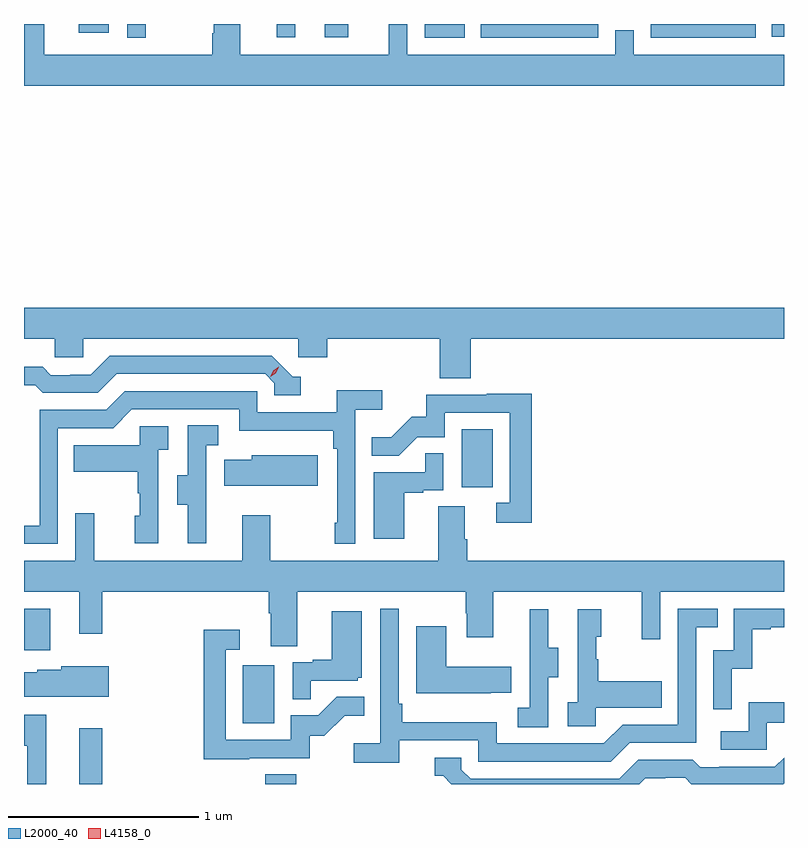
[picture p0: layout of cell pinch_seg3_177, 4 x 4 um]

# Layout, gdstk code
import gdstk
lib = gdstk.Library(unit=1e-6, precision=1e-09)
def R(c, l, rs):  # rectangles x0, y0, x1, y1
    for r in rs: c.add(gdstk.rectangle(r[:2], r[2:], *l))
def P(c, l, *ps):  # polygons
    for p in ps: c.add(gdstk.Polygon(p, *l))
L2000_40 = (2000, 40)
L4158_0 = (4158, 0)

pinch_seg3_177 = lib.new_cell('pinch_seg3_177')
R(pinch_seg3_177, L2000_40, [(996.071,743.861,996.193,744.154), (997.049,743.861,997.214,743.912), (996.932,744.18,997.096,744.487), (995.78,744.564,995.917,744.784), (998.084,745.422,998.248,745.729), (996.324,747.789,996.42,747.861), (997.89,747.789,998.099,747.861), (998.184,747.789,998.802,747.861), (999.078,747.789,999.63,747.861), (997.109,747.792,997.207,747.861), (997.362,747.792,997.486,747.861), (999.715,747.795,999.78,747.861), (996.068,747.816,996.226,747.861)])
P(pinch_seg3_177, L2000_40, [(999.78,747.7),(998.988,747.7),(998.988,747.827),(998.892,747.827),(998.892,747.7),(997.797,747.7),(997.797,747.861),(997.7,747.861),(997.7,747.7),(996.919,747.7),(996.919,747.861),(996.779,747.861),(996.779,747.812),(996.772,747.812),(996.772,747.7),(995.887,747.7),(995.887,747.861),(995.78,747.861),(995.78,747.536),(999.78,747.536)],
  [(995.78,746.204),(995.943,746.204),(995.943,746.106),(996.093,746.106),(996.093,746.204),(997.224,746.204),(997.224,746.106),(997.376,746.106),(997.376,746.204),(997.967,746.204),(997.967,745.996),(998.132,745.996),(998.132,746.204),(999.78,746.204),(999.78,746.368),(995.78,746.368)],
  [(997.237,746.004),(997.194,746.004),(997.083,746.115),(996.23,746.115),(996.131,746.016),(996.024,746.016),(996.024,746.013),(995.921,746.013),(995.879,746.056),(995.78,746.056),(995.78,745.959),(995.84,745.959),(995.879,745.92),(996.168,745.92),(996.267,746.019),(997.05,746.019),(997.098,745.971),(997.098,745.908),(997.237,745.908)],
  [(995.958,745.734),(996.249,745.734),(996.348,745.833),(996.912,745.833),(996.912,745.721),(997.408,745.721),(997.408,745.625),(997.428,745.625),(997.428,745.237),(997.416,745.237),(997.416,745.125),(997.524,745.125),(997.524,745.832),(997.666,745.832),(997.666,745.934),(997.427,745.934),(997.427,745.818),(997.008,745.818),(997.008,745.929),(996.311,745.929),(996.212,745.83),(995.862,745.83),(995.862,745.221),(995.78,745.221),(995.78,745.125),(995.958,745.125)],
  [(998.453,745.916),(998.215,745.916),(998.215,745.911),(997.897,745.911),(997.897,745.794),(997.82,745.794),(997.713,745.687),(997.609,745.687),(997.609,745.588),(997.753,745.588),(997.851,745.686),(997.995,745.686),(997.995,745.815),(998.337,745.815),(998.337,745.341),(998.265,745.341),(998.265,745.236),(998.453,745.236)],
  [(996.74,745.341),(996.738,745.341),(996.738,745.645),(996.802,745.645),(996.802,745.748),(996.642,745.748),(996.642,745.485),(996.587,745.485),(996.587,745.33),(996.641,745.33),(996.641,745.128),(996.74,745.128)],
  [(996.486,745.619),(996.538,745.619),(996.538,745.743),(996.39,745.743),(996.39,745.645),(996.043,745.645),(996.043,745.505),(996.378,745.505),(996.378,745.391),(996.388,745.391),(996.388,745.272),(996.362,745.272),(996.362,745.128),(996.486,745.128)],
  [(997.78,745.395),(997.88,745.395),(997.88,745.407),(997.986,745.407),(997.986,745.601),(997.891,745.601),(997.891,745.503),(997.622,745.503),(997.622,745.152),(997.78,745.152)],
  [(997.327,745.591),(996.978,745.591),(996.978,745.567),(996.835,745.567),(996.835,745.43),(997.327,745.43)],
  [(997.219,744.872),(998.104,744.872),(998.104,744.761),(998.111,744.761),(998.111,744.633),(998.251,744.633),(998.251,744.872),(999.032,744.872),(999.032,744.624),(999.129,744.624),(999.129,744.872),(999.78,744.872),(999.78,745.036),(998.114,745.036),(998.114,745.148),(998.101,745.148),(998.101,745.322),(997.961,745.322),(997.961,745.036),(997.077,745.036),(997.077,745.276),(996.929,745.276),(996.929,745.036),(996.149,745.036),(996.149,745.285),(996.051,745.285),(996.051,745.036),(995.78,745.036),(995.78,744.872),(996.071,744.872),(996.071,744.651),(996.193,744.651),(996.193,744.872),(997.067,744.872),(997.067,744.76),(997.079,744.76),(997.079,744.586),(997.219,744.586)],
  [(997.754,744.09),(998.172,744.09),(998.172,743.979),(998.869,743.979),(998.968,744.078),(999.318,744.078),(999.318,744.687),(999.431,744.687),(999.431,744.783),(999.222,744.783),(999.222,744.174),(998.931,744.174),(998.832,744.075),(998.268,744.075),(998.268,744.187),(997.772,744.187),(997.772,744.283),(997.752,744.283),(997.752,744.784),(997.656,744.784),(997.656,744.076),(997.515,744.076),(997.515,743.974),(997.754,743.974)],
  [(999.504,744.467),(999.614,744.467),(999.614,744.675),(999.709,744.675),(999.709,744.687),(999.78,744.687),(999.78,744.783),(999.516,744.783),(999.516,744.564),(999.408,744.564),(999.408,744.255),(999.504,744.255)],
  [(998.538,744.424),(998.593,744.424),(998.593,744.579),(998.539,744.579),(998.539,744.781),(998.441,744.781),(998.441,744.567),(998.442,744.567),(998.442,744.263),(998.379,744.263),(998.379,744.16),(998.538,744.16)],
  [(998.79,744.263),(999.137,744.263),(999.137,744.403),(998.803,744.403),(998.803,744.518),(998.793,744.518),(998.793,744.636),(998.818,744.636),(998.818,744.781),(998.694,744.781),(998.694,744.29),(998.643,744.29),(998.643,744.165),(998.79,744.165)],
  [(997.289,744.405),(997.536,744.405),(997.536,744.42),(997.558,744.42),(997.558,744.769),(997.4,744.769),(997.4,744.514),(997.301,744.514),(997.301,744.501),(997.194,744.501),(997.194,744.307),(997.289,744.307)],
  [(998.237,744.341),(998.345,744.341),(998.345,744.478),(998.002,744.478),(998.002,744.691),(997.844,744.691),(997.844,744.338),(998.237,744.338)],
  [(996.965,743.997),(997.284,743.997),(997.284,744.114),(997.36,744.114),(997.467,744.221),(997.571,744.221),(997.571,744.32),(997.427,744.32),(997.329,744.222),(997.185,744.222),(997.185,744.093),(996.843,744.093),(996.843,744.567),(996.916,744.567),(996.916,744.673),(996.727,744.673),(996.727,743.992),(996.965,743.992)],
  [(996.226,744.481),(995.976,744.481),(995.976,744.463),(995.85,744.463),(995.85,744.449),(995.78,744.449),(995.78,744.32),(996.226,744.32)],
  [(999.69,744.183),(999.78,744.183),(999.78,744.292),(999.594,744.292),(999.594,744.138),(999.447,744.138),(999.447,744.042),(999.69,744.042)],
  [(995.896,744.226),(995.78,744.226),(995.78,744.062),(995.798,744.062),(995.798,743.861),(995.896,743.861)],
  [(999.049,743.892),(999.156,743.892),(999.156,743.895),(999.259,743.895),(999.293,743.861),(999.776,743.861),(999.78,743.865),(999.78,744),(999.732,743.952),(999.439,743.952),(999.439,743.949),(999.34,743.949),(999.301,743.988),(999.012,743.988),(998.913,743.889),(998.13,743.889),(998.082,743.937),(998.082,744),(997.943,744),(997.943,743.904),(997.986,743.904),(998.029,743.861),(999.018,743.861)])
P(pinch_seg3_177, L4158_0, [(997.075,746.004),(997.075,746.004),(997.091,746.037),(997.121,746.056),(997.122,746.056),(997.122,746.056),(997.106,746.024),(997.075,746.004)])

lib.write_gds('pinch_seg3_177.gds')
